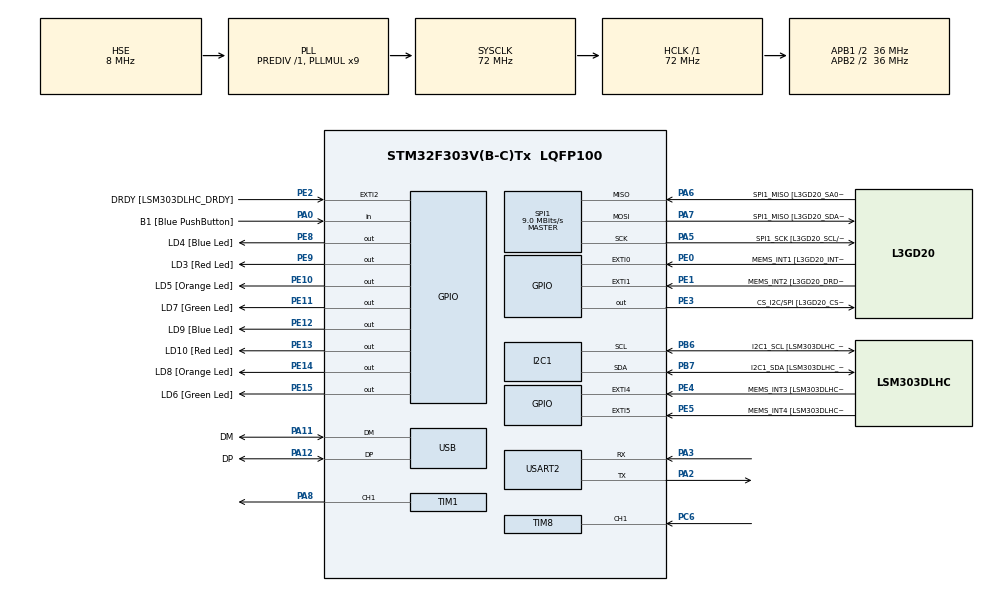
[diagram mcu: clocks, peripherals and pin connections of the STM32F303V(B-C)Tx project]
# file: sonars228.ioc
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I2C1.Timing-I2C=0x2000090E
Mcu.Family=STM32F3
Mcu.Name=STM32F303V(B-C)Tx
Mcu.Package=LQFP100
NVIC.PriorityGroup=NVIC_PRIORITYGROUP_0
NVIC.TIM1_CC_IRQn=true\:0\:0\:false\:false\:true\:true\:true
NVIC.TIM8_CC_IRQn=true\:0\:0\:false\:false\:true\:true\:true
NVIC.USART2_IRQn=true\:0\:0\:false\:false\:true\:true\:true
PA0.GPIO_Label=B1 [Blue PushButton]
PA0.Signal=GPIO_Input
PA11.GPIO_Label=DM
PA11.Mode=Device
PA11.Signal=USB_DM
PA12.GPIO_Label=DP
PA12.Mode=Device
PA12.Signal=USB_DP
PA13.GPIO_Label=SWDIO
PA13.Mode=Serial_Wire
PA13.Signal=SYS_JTMS-SWDIO
PA14.GPIO_Label=SWCLK
PA14.Mode=Serial_Wire
PA14.Signal=SYS_JTCK-SWCLK
PA2.Mode=Asynchronous
PA2.Signal=USART2_TX
PA3.Mode=Asynchronous
PA3.Signal=USART2_RX
PA5.GPIO_Label=SPI1_SCK [L3GD20_SCL/SPC]
PA5.Mode=Full_Duplex_Master
PA5.Signal=SPI1_SCK
PA6.GPIO_Label=SPI1_MISO [L3GD20_SA0/SDO]
PA6.Mode=Full_Duplex_Master
PA6.Signal=SPI1_MISO
PA7.GPIO_Label=SPI1_MISO [L3GD20_SDA/SDI/SDO]
PA7.Mode=Full_Duplex_Master
PA7.Signal=SPI1_MOSI
PA8.Signal=S_TIM1_CH1
PB3.GPIO_Label=SWO
PB3.Signal=SYS_JTDO-TRACESWO
PB6.GPIO_Label=I2C1_SCL [LSM303DLHC_SCL]
PB6.Mode=I2C
PB6.Signal=I2C1_SCL
PB7.GPIO_Label=I2C1_SDA [LSM303DLHC_SDA]
PB7.Mode=I2C
PB7.Signal=I2C1_SDA
PC14-OSC32_IN.GPIO_Label=OSC32_IN
PC14-OSC32_IN.Signal=RCC_OSC32_IN
PC15-OSC32_OUT.GPIO_Label=OSC32_OUT
PC15-OSC32_OUT.Signal=RCC_OSC32_OUT
PC6.Signal=S_TIM8_CH1
PE0.GPIO_Label=MEMS_INT1 [L3GD20_INT1]
PE0.GPIO_ModeDefaultEXTI=GPIO_MODE_EVT_RISING
PE0.Signal=GPXTI0
PE1.GPIO_Label=MEMS_INT2 [L3GD20_DRDY/INT2]
PE1.GPIO_ModeDefaultEXTI=GPIO_MODE_EVT_RISING
PE1.Signal=GPXTI1
PE10.GPIO_Label=LD5 [Orange Led]
PE10.Signal=GPIO_Output
PE11.GPIO_Label=LD7 [Green Led]
PE11.Signal=GPIO_Output
PE12.GPIO_Label=LD9 [Blue Led]
PE12.Signal=GPIO_Output
PE13.GPIO_Label=LD10 [Red Led]
PE13.Signal=GPIO_Output
PE14.GPIO_Label=LD8 [Orange Led]
PE14.Signal=GPIO_Output
PE15.GPIO_Label=LD6 [Green Led]
PE15.Signal=GPIO_Output
PE2.GPIO_Label=DRDY [LSM303DLHC_DRDY]
PE2.GPIO_ModeDefaultEXTI=GPIO_MODE_EVT_RISING
PE2.Signal=GPXTI2
PE3.GPIO_Label=CS_I2C/SPI [L3GD20_CS_I2C/SPI]
PE3.Signal=GPIO_Output
PE4.GPIO_Label=MEMS_INT3 [LSM303DLHC_INT1]
PE4.GPIO_ModeDefaultEXTI=GPIO_MODE_EVT_RISING
PE4.Signal=GPXTI4
PE5.GPIO_Label=MEMS_INT4 [LSM303DLHC_INT2]
PE5.GPIO_ModeDefaultEXTI=GPIO_MODE_EVT_RISING
PE5.Signal=GPXTI5
PE8.GPIO_Label=LD4 [Blue Led]
PE8.Signal=GPIO_Output
PE9.GPIO_Label=LD3 [Red Led]
PE9.Signal=GPIO_Output
PF0-OSC_IN.GPIO_Label=OSC_IN
PF0-OSC_IN.Mode=HSE-External-Clock-Source
PF0-OSC_IN.Signal=RCC_OSC_IN
PF1-OSC_OUT.GPIO_Label=OSC_OUT
PF1-OSC_OUT.Signal=RCC_OSC_OUT
ProjectManager.HeapSize=0x200
ProjectManager.StackSize=0x400
ProjectManager.TargetToolchain=STM32CubeIDE
RCC.AHBFreq_Value=72000000
RCC.APB1CLKDivider=RCC_HCLK_DIV2
RCC.APB1Freq_Value=36000000
RCC.APB1TimFreq_Value=72000000
RCC.APB2CLKDivider=RCC_HCLK_DIV2
RCC.APB2Freq_Value=36000000
RCC.APB2TimFreq_Value=72000000
RCC.CortexFreq_Value=72000000
RCC.HCLKFreq_Value=72000000
RCC.HSE_VALUE=8000000
RCC.HSI_VALUE=8000000
RCC.LSE_VALUE=32768
RCC.PLLMUL=RCC_PLL_MUL9
RCC.PRESCALERUSB=RCC_USBCLKSOURCE_PLL_DIV1_5
RCC.SYSCLKFreq_VALUE=72000000
RCC.SYSCLKSourceVirtual=RCC_SYSCLKSOURCE_PLLCLK
RCC.USBFreq_Value=48000000
SH.S_TIM1_CH1.0=TIM1_CH1,PWM Generation1 CH1
SH.S_TIM8_CH1.0=TIM8_CH1,Input_Capture1_from_TI1
SH.S_TIM8_CH1.1=TIM8_CH1,Input_Capture2_from_TI1
SPI1.BaudRatePrescaler=SPI_BAUDRATEPRESCALER_4
SPI1.BaudRatePrescaler-Full_Duplex_Master=SPI_BAUDRATEPRESCALER_2
SPI1.CalculateBaudRate=9.0 MBits/s
SPI1.CalculateBaudRate-Full_Duplex_Master=24.0 MBits/s
SPI1.Direction=SPI_DIRECTION_2LINES
SPI1.Mode=SPI_MODE_MASTER
SPI1.Mode-Full_Duplex_Master=SPI_MODE_MASTER
SPI1.VirtualType=VM_MASTER
TIM1.Channel-PWM\ Generation1\ CH1=TIM_CHANNEL_1
TIM1.Period=4199
TIM1.Prescaler=7199
TIM1.Pulse-PWM\ Generation1\ CH1=1
TIM8.Channel-Input_Capture1_from_TI1=TIM_CHANNEL_1
TIM8.Channel-Input_Capture2_from_TI1=TIM_CHANNEL_2
TIM8.ICFilter_CH1=8
TIM8.ICPolarity_CH2=TIM_INPUTCHANNELPOLARITY_FALLING
TIM8.Period=4999
TIM8.Prescaler=7199
USART2.VirtualMode-Asynchronous=VM_ASYNC
board=STM32F3DISCOVERY

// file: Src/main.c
/* USER CODE BEGIN Header */
/**
  ******************************************************************************
  * @file           : main.c
  * @brief          : Main program body
  ******************************************************************************
  * @attention
  *
  * <h2><center>&copy; Copyright (c) 2019 STMicroelectronics.
  * All rights reserved.</center></h2>
  *
  * This software component is licensed by ST under BSD 3-Clause license,
  * the "License"; You may not use this file except in compliance with the
  * License. You may obtain a copy of the License at:
  *                        opensource.org/licenses/BSD-3-Clause
  *
  ******************************************************************************
  */
/* USER CODE END Header */

#include "main.h"

I2C_HandleTypeDef hi2c1;

SPI_HandleTypeDef hspi1;

TIM_HandleTypeDef htim1;
TIM_HandleTypeDef htim8;

UART_HandleTypeDef huart2;

PCD_HandleTypeDef hpcd_USB_FS;

/* USER CODE BEGIN PV */
char trans_str[64] = {0,};
/* USER CODE END PV */

void SystemClock_Config(void);
static void MX_GPIO_Init(void);
static void MX_I2C1_Init(void);
static void MX_SPI1_Init(void);
static void MX_USB_PCD_Init(void);
static void MX_TIM1_Init(void);
static void MX_TIM8_Init(void);
static void MX_USART2_UART_Init(void);

/* USER CODE BEGIN 0 */
void HAL_TIM_IC_CaptureCallback(TIM_HandleTypeDef *htim)
{
	double Sonar;
        if(htim->Instance == TIM8)
        {
                if(htim->Channel == HAL_TIM_ACTIVE_CHANNEL_1) // RISING - LOW - HIGH
                {
                        __HAL_TIM_SET_COUNTER(&htim8, 0x0000);
									HAL_GPIO_TogglePin(GPIOE, GPIO_PIN_11);
                }

                else if(htim->Channel == HAL_TIM_ACTIVE_CHANNEL_2) // FALLING - HIGH - LOW
                {
									HAL_GPIO_TogglePin(GPIOE, GPIO_PIN_12);
									double Sonar;
                        uint32_t falling = HAL_TIM_ReadCapturedValue(&htim8, TIM_CHANNEL_2);

												Sonar = 354*0.0001*falling/2;
									if(Sonar < 0.02) Sonar = 0.02;
									if(Sonar > 4) Sonar = 4;
									snprintf(trans_str, 63, "Distanse %f meters\n", Sonar);
                        HAL_UART_Transmit(&huart1, (uint8_t*)trans_str, strlen(trans_str), 1000);

                }
        }
}
/* USER CODE END 0 */

int main(void)
{

  /* MCU Configuration--------------------------------------------------------*/

  /* Reset of all peripherals, Initializes the Flash interface and the Systick. */
  HAL_Init();

  /* Configure the system clock */
  SystemClock_Config();

  /* Initialize all configured peripherals */
  MX_GPIO_Init();
  MX_I2C1_Init();
  MX_SPI1_Init();
  MX_USB_PCD_Init();
  MX_TIM1_Init();
  MX_TIM8_Init();
  MX_USART2_UART_Init();
  /* USER CODE BEGIN 2 */
HAL_TIM_OC_Start_IT(&htim1, TIM_CHANNEL_1);
   HAL_TIM_IC_Start_IT(&htim8, TIM_CHANNEL_1);
   HAL_TIM_IC_Start_IT(&htim8, TIM_CHANNEL_2);
  /* USER CODE END 2 */

  /* Infinite loop */
  while (1)
  {

  }
}

void SystemClock_Config(void)
{
  RCC_OscInitTypeDef RCC_OscInitStruct = {0};
  RCC_ClkInitTypeDef RCC_ClkInitStruct = {0};
  RCC_PeriphCLKInitTypeDef PeriphClkInit = {0};

  /** Initializes the CPU, AHB and APB busses clocks
  */
  RCC_OscInitStruct.OscillatorType = RCC_OSCILLATORTYPE_HSI|RCC_OSCILLATORTYPE_HSE;
  RCC_OscInitStruct.HSEState = RCC_HSE_BYPASS;
  RCC_OscInitStruct.HSEPredivValue = RCC_HSE_PREDIV_DIV1;
  RCC_OscInitStruct.HSIState = RCC_HSI_ON;
  RCC_OscInitStruct.HSICalibrationValue = RCC_HSICALIBRATION_DEFAULT;
  RCC_OscInitStruct.PLL.PLLState = RCC_PLL_ON;
  RCC_OscInitStruct.PLL.PLLSource = RCC_PLLSOURCE_HSE;
  RCC_OscInitStruct.PLL.PLLMUL = RCC_PLL_MUL9;
  if (HAL_RCC_OscConfig(&RCC_OscInitStruct) != HAL_OK)
  {
    Error_Handler();
  }
  /** Initializes the CPU, AHB and APB busses clocks
  */
  RCC_ClkInitStruct.ClockType = RCC_CLOCKTYPE_HCLK|RCC_CLOCKTYPE_SYSCLK
                              |RCC_CLOCKTYPE_PCLK1|RCC_CLOCKTYPE_PCLK2;
  RCC_ClkInitStruct.SYSCLKSource = RCC_SYSCLKSOURCE_PLLCLK;
  RCC_ClkInitStruct.AHBCLKDivider = RCC_SYSCLK_DIV1;
  RCC_ClkInitStruct.APB1CLKDivider = RCC_HCLK_DIV2;
  RCC_ClkInitStruct.APB2CLKDivider = RCC_HCLK_DIV2;

  if (HAL_RCC_ClockConfig(&RCC_ClkInitStruct, FLASH_LATENCY_2) != HAL_OK)
  {
    Error_Handler();
  }
  PeriphClkInit.PeriphClockSelection = RCC_PERIPHCLK_USB|RCC_PERIPHCLK_USART2
                              |RCC_PERIPHCLK_I2C1|RCC_PERIPHCLK_TIM1
                              |RCC_PERIPHCLK_TIM8;
  PeriphClkInit.Usart2ClockSelection = RCC_USART2CLKSOURCE_PCLK1;
  PeriphClkInit.I2c1ClockSelection = RCC_I2C1CLKSOURCE_HSI;
  PeriphClkInit.USBClockSelection = RCC_USBCLKSOURCE_PLL_DIV1_5;
  PeriphClkInit.Tim1ClockSelection = RCC_TIM1CLK_HCLK;
  PeriphClkInit.Tim8ClockSelection = RCC_TIM8CLK_HCLK;
  if (HAL_RCCEx_PeriphCLKConfig(&PeriphClkInit) != HAL_OK)
  {
    Error_Handler();
  }
}

static void MX_I2C1_Init(void)
{

  hi2c1.Instance = I2C1;
  hi2c1.Init.Timing = 0x2000090E;
  hi2c1.Init.OwnAddress1 = 0;
  hi2c1.Init.AddressingMode = I2C_ADDRESSINGMODE_7BIT;
  hi2c1.Init.DualAddressMode = I2C_DUALADDRESS_DISABLE;
  hi2c1.Init.OwnAddress2 = 0;
  hi2c1.Init.OwnAddress2Masks = I2C_OA2_NOMASK;
  hi2c1.Init.GeneralCallMode = I2C_GENERALCALL_DISABLE;
  hi2c1.Init.NoStretchMode = I2C_NOSTRETCH_DISABLE;
  if (HAL_I2C_Init(&hi2c1) != HAL_OK)
  {
    Error_Handler();
  }
  /** Configure Analogue filter
  */
  if (HAL_I2CEx_ConfigAnalogFilter(&hi2c1, I2C_ANALOGFILTER_ENABLE) != HAL_OK)
  {
    Error_Handler();
  }
  /** Configure Digital filter
  */
  if (HAL_I2CEx_ConfigDigitalFilter(&hi2c1, 0) != HAL_OK)
  {
    Error_Handler();
  }

}

static void MX_SPI1_Init(void)
{

  /* SPI1 parameter configuration*/
  hspi1.Instance = SPI1;
  hspi1.Init.Mode = SPI_MODE_MASTER;
  hspi1.Init.Direction = SPI_DIRECTION_2LINES;
  hspi1.Init.DataSize = SPI_DATASIZE_4BIT;
  hspi1.Init.CLKPolarity = SPI_POLARITY_LOW;
  hspi1.Init.CLKPhase = SPI_PHASE_1EDGE;
  hspi1.Init.NSS = SPI_NSS_SOFT;
  hspi1.Init.BaudRatePrescaler = SPI_BAUDRATEPRESCALER_4;
  hspi1.Init.FirstBit = SPI_FIRSTBIT_MSB;
  hspi1.Init.TIMode = SPI_TIMODE_DISABLE;
  hspi1.Init.CRCCalculation = SPI_CRCCALCULATION_DISABLE;
  hspi1.Init.CRCPolynomial = 7;
  hspi1.Init.CRCLength = SPI_CRC_LENGTH_DATASIZE;
  hspi1.Init.NSSPMode = SPI_NSS_PULSE_ENABLE;
  if (HAL_SPI_Init(&hspi1) != HAL_OK)
  {
    Error_Handler();
  }

}

static void MX_TIM1_Init(void)
{

  TIM_MasterConfigTypeDef sMasterConfig = {0};
  TIM_OC_InitTypeDef sConfigOC = {0};
  TIM_BreakDeadTimeConfigTypeDef sBreakDeadTimeConfig = {0};

  htim1.Instance = TIM1;
  htim1.Init.Prescaler = 7199;
  htim1.Init.CounterMode = TIM_COUNTERMODE_UP;
  htim1.Init.Period = 4199;
  htim1.Init.ClockDivision = TIM_CLOCKDIVISION_DIV1;
  htim1.Init.RepetitionCounter = 0;
  htim1.Init.AutoReloadPreload = TIM_AUTORELOAD_PRELOAD_DISABLE;
  if (HAL_TIM_PWM_Init(&htim1) != HAL_OK)
  {
    Error_Handler();
  }
  sMasterConfig.MasterOutputTrigger = TIM_TRGO_RESET;
  sMasterConfig.MasterOutputTrigger2 = TIM_TRGO2_RESET;
  sMasterConfig.MasterSlaveMode = TIM_MASTERSLAVEMODE_DISABLE;
  if (HAL_TIMEx_MasterConfigSynchronization(&htim1, &sMasterConfig) != HAL_OK)
  {
    Error_Handler();
  }
  sConfigOC.OCMode = TIM_OCMODE_PWM1;
  sConfigOC.Pulse = 1;
  sConfigOC.OCPolarity = TIM_OCPOLARITY_HIGH;
  sConfigOC.OCNPolarity = TIM_OCNPOLARITY_HIGH;
  sConfigOC.OCFastMode = TIM_OCFAST_DISABLE;
  sConfigOC.OCIdleState = TIM_OCIDLESTATE_RESET;
  sConfigOC.OCNIdleState = TIM_OCNIDLESTATE_RESET;
  if (HAL_TIM_PWM_ConfigChannel(&htim1, &sConfigOC, TIM_CHANNEL_1) != HAL_OK)
  {
    Error_Handler();
  }
  sBreakDeadTimeConfig.OffStateRunMode = TIM_OSSR_DISABLE;
  sBreakDeadTimeConfig.OffStateIDLEMode = TIM_OSSI_DISABLE;
  sBreakDeadTimeConfig.LockLevel = TIM_LOCKLEVEL_OFF;
  sBreakDeadTimeConfig.DeadTime = 0;
  sBreakDeadTimeConfig.BreakState = TIM_BREAK_DISABLE;
  sBreakDeadTimeConfig.BreakPolarity = TIM_BREAKPOLARITY_HIGH;
  sBreakDeadTimeConfig.BreakFilter = 0;
  sBreakDeadTimeConfig.Break2State = TIM_BREAK2_DISABLE;
  sBreakDeadTimeConfig.Break2Polarity = TIM_BREAK2POLARITY_HIGH;
  sBreakDeadTimeConfig.Break2Filter = 0;
  sBreakDeadTimeConfig.AutomaticOutput = TIM_AUTOMATICOUTPUT_DISABLE;
  if (HAL_TIMEx_ConfigBreakDeadTime(&htim1, &sBreakDeadTimeConfig) != HAL_OK)
  {
    Error_Handler();
  }
  HAL_TIM_MspPostInit(&htim1);

}

static void MX_TIM8_Init(void)
{

  TIM_MasterConfigTypeDef sMasterConfig = {0};
  TIM_IC_InitTypeDef sConfigIC = {0};

  htim8.Instance = TIM8;
  htim8.Init.Prescaler = 7199;
  htim8.Init.CounterMode = TIM_COUNTERMODE_UP;
  htim8.Init.Period = 4999;
  htim8.Init.ClockDivision = TIM_CLOCKDIVISION_DIV1;
  htim8.Init.RepetitionCounter = 0;
  htim8.Init.AutoReloadPreload = TIM_AUTORELOAD_PRELOAD_DISABLE;
  if (HAL_TIM_IC_Init(&htim8) != HAL_OK)
  {
    Error_Handler();
  }
  sMasterConfig.MasterOutputTrigger = TIM_TRGO_RESET;
  sMasterConfig.MasterOutputTrigger2 = TIM_TRGO2_RESET;
  sMasterConfig.MasterSlaveMode = TIM_MASTERSLAVEMODE_DISABLE;
  if (HAL_TIMEx_MasterConfigSynchronization(&htim8, &sMasterConfig) != HAL_OK)
  {
    Error_Handler();
  }
  sConfigIC.ICPolarity = TIM_INPUTCHANNELPOLARITY_RISING;
  sConfigIC.ICSelection = TIM_ICSELECTION_DIRECTTI;
  sConfigIC.ICPrescaler = TIM_ICPSC_DIV1;
  sConfigIC.ICFilter = 8;
  if (HAL_TIM_IC_ConfigChannel(&htim8, &sConfigIC, TIM_CHANNEL_1) != HAL_OK)
  {
    Error_Handler();
  }
  sConfigIC.ICPolarity = TIM_INPUTCHANNELPOLARITY_FALLING;
  sConfigIC.ICSelection = TIM_ICSELECTION_INDIRECTTI;
  sConfigIC.ICFilter = 0;
  if (HAL_TIM_IC_ConfigChannel(&htim8, &sConfigIC, TIM_CHANNEL_2) != HAL_OK)
  {
    Error_Handler();
  }

}

static void MX_USART2_UART_Init(void)
{

  huart2.Instance = USART2;
  huart2.Init.BaudRate = 38400;
  huart2.Init.WordLength = UART_WORDLENGTH_8B;
  huart2.Init.StopBits = UART_STOPBITS_1;
  huart2.Init.Parity = UART_PARITY_NONE;
  huart2.Init.Mode = UART_MODE_TX_RX;
  huart2.Init.HwFlowCtl = UART_HWCONTROL_NONE;
  huart2.Init.OverSampling = UART_OVERSAMPLING_16;
  huart2.Init.OneBitSampling = UART_ONE_BIT_SAMPLE_DISABLE;
  huart2.AdvancedInit.AdvFeatureInit = UART_ADVFEATURE_NO_INIT;
  if (HAL_UART_Init(&huart2) != HAL_OK)
  {
    Error_Handler();
  }

}

static void MX_USB_PCD_Init(void)
{

  hpcd_USB_FS.Instance = USB;
  hpcd_USB_FS.Init.dev_endpoints = 8;
  hpcd_USB_FS.Init.speed = PCD_SPEED_FULL;
  hpcd_USB_FS.Init.phy_itface = PCD_PHY_EMBEDDED;
  hpcd_USB_FS.Init.low_power_enable = DISABLE;
  hpcd_USB_FS.Init.battery_charging_enable = DISABLE;
  if (HAL_PCD_Init(&hpcd_USB_FS) != HAL_OK)
  {
    Error_Handler();
  }

}

static void MX_GPIO_Init(void)
{
  GPIO_InitTypeDef GPIO_InitStruct = {0};

  /* GPIO Ports Clock Enable */
  __HAL_RCC_GPIOE_CLK_ENABLE();
  __HAL_RCC_GPIOC_CLK_ENABLE();
  __HAL_RCC_GPIOF_CLK_ENABLE();
  __HAL_RCC_GPIOA_CLK_ENABLE();
  __HAL_RCC_GPIOB_CLK_ENABLE();

  /*Configure GPIO pin Output Level */
  HAL_GPIO_WritePin(GPIOE, CS_I2C_SPI_Pin|LD4_Pin|LD3_Pin|LD5_Pin
                          |LD7_Pin|LD9_Pin|LD10_Pin|LD8_Pin
                          |LD6_Pin, GPIO_PIN_RESET);

  /*Configure GPIO pins : DRDY_Pin MEMS_INT3_Pin MEMS_INT4_Pin MEMS_INT1_Pin
                           MEMS_INT2_Pin */
  GPIO_InitStruct.Pin = DRDY_Pin|MEMS_INT3_Pin|MEMS_INT4_Pin|MEMS_INT1_Pin
                          |MEMS_INT2_Pin;
  GPIO_InitStruct.Mode = GPIO_MODE_EVT_RISING;
  GPIO_InitStruct.Pull = GPIO_NOPULL;
  HAL_GPIO_Init(GPIOE, &GPIO_InitStruct);

  /*Configure GPIO pins : CS_I2C_SPI_Pin LD4_Pin LD3_Pin LD5_Pin
                           LD7_Pin LD9_Pin LD10_Pin LD8_Pin
                           LD6_Pin */
  GPIO_InitStruct.Pin = CS_I2C_SPI_Pin|LD4_Pin|LD3_Pin|LD5_Pin
                          |LD7_Pin|LD9_Pin|LD10_Pin|LD8_Pin
                          |LD6_Pin;
  GPIO_InitStruct.Mode = GPIO_MODE_OUTPUT_PP;
  GPIO_InitStruct.Pull = GPIO_NOPULL;
  GPIO_InitStruct.Speed = GPIO_SPEED_FREQ_LOW;
  HAL_GPIO_Init(GPIOE, &GPIO_InitStruct);

  /*Configure GPIO pin : B1_Pin */
  GPIO_InitStruct.Pin = B1_Pin;
  GPIO_InitStruct.Mode = GPIO_MODE_INPUT;
  GPIO_InitStruct.Pull = GPIO_NOPULL;
  HAL_GPIO_Init(B1_GPIO_Port, &GPIO_InitStruct);

}

void Error_Handler(void)
{
}

/************************ (C) COPYRIGHT STMicroelectronics *****END OF FILE****/
